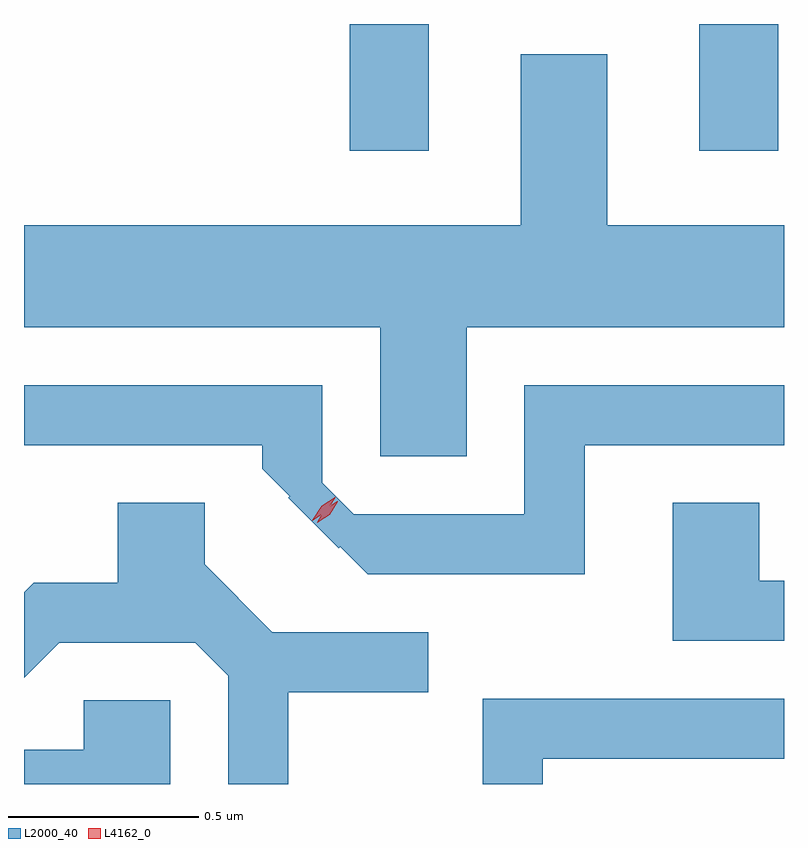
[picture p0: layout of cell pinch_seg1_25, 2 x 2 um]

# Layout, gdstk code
import gdstk
lib = gdstk.Library(unit=1e-6, precision=1e-09)
def R(c, l, rs):  # rectangles x0, y0, x1, y1
    for r in rs: c.add(gdstk.rectangle(r[:2], r[2:], *l))
def P(c, l, *ps):  # polygons
    for p in ps: c.add(gdstk.Polygon(p, *l))
L2000_40 = (2000, 40)
L4162_0 = (4162, 0)

pinch_seg1_25 = lib.new_cell('pinch_seg1_25')
R(pinch_seg1_25, L2000_40, [(1835.591,959.981,1835.799,960.314), (1836.511,959.981,1836.719,960.314)])
P(pinch_seg1_25, L2000_40, [(1835.899,959.516),(1836.734,959.516),(1836.734,959.784),(1836.269,959.784),(1836.269,960.234),(1836.041,960.234),(1836.041,959.784),(1834.734,959.784),(1834.734,959.516),(1835.671,959.516),(1835.671,959.176),(1835.899,959.176)],
  [(1836.209,959.206),(1836.734,959.206),(1836.734,959.364),(1836.051,959.364),(1836.051,959.024),(1835.602,959.024),(1835.519,959.107),(1835.519,959.364),(1834.734,959.364),(1834.734,959.206),(1835.361,959.206),(1835.361,959.143),(1835.433,959.071),(1835.43,959.067),(1835.562,958.935),(1835.566,958.938),(1835.638,958.866),(1836.209,958.866)],
  [(1835.429,958.556),(1835.798,958.556),(1835.798,958.714),(1835.387,958.714),(1835.209,958.892),(1835.209,959.054),(1834.981,959.054),(1834.981,958.844),(1834.759,958.844),(1834.734,958.819),(1834.734,958.593),(1834.827,958.686),(1835.184,958.686),(1835.271,958.599),(1835.271,958.314),(1835.429,958.314)],
  [(1836.734,958.849),(1836.669,958.849),(1836.669,959.054),(1836.441,959.054),(1836.441,958.691),(1836.734,958.691)],
  [(1836.099,958.381),(1836.734,958.381),(1836.734,958.539),(1835.941,958.539),(1835.941,958.314),(1836.099,958.314)],
  [(1835.119,958.534),(1834.891,958.534),(1834.891,958.404),(1834.734,958.404),(1834.734,958.314),(1835.119,958.314)])
P(pinch_seg1_25, L4162_0, [(1835.493,959.007),(1835.493,959.008),(1835.517,959.046),(1835.555,959.07),(1835.555,959.07),(1835.555,959.07),(1835.531,959.032),(1835.493,959.007)],
  [(1835.506,959.002),(1835.506,959.003),(1835.525,959.037),(1835.558,959.058),(1835.559,959.058),(1835.559,959.057),(1835.539,959.023),(1835.506,959.002)])

lib.write_gds('pinch_seg1_25.gds')
